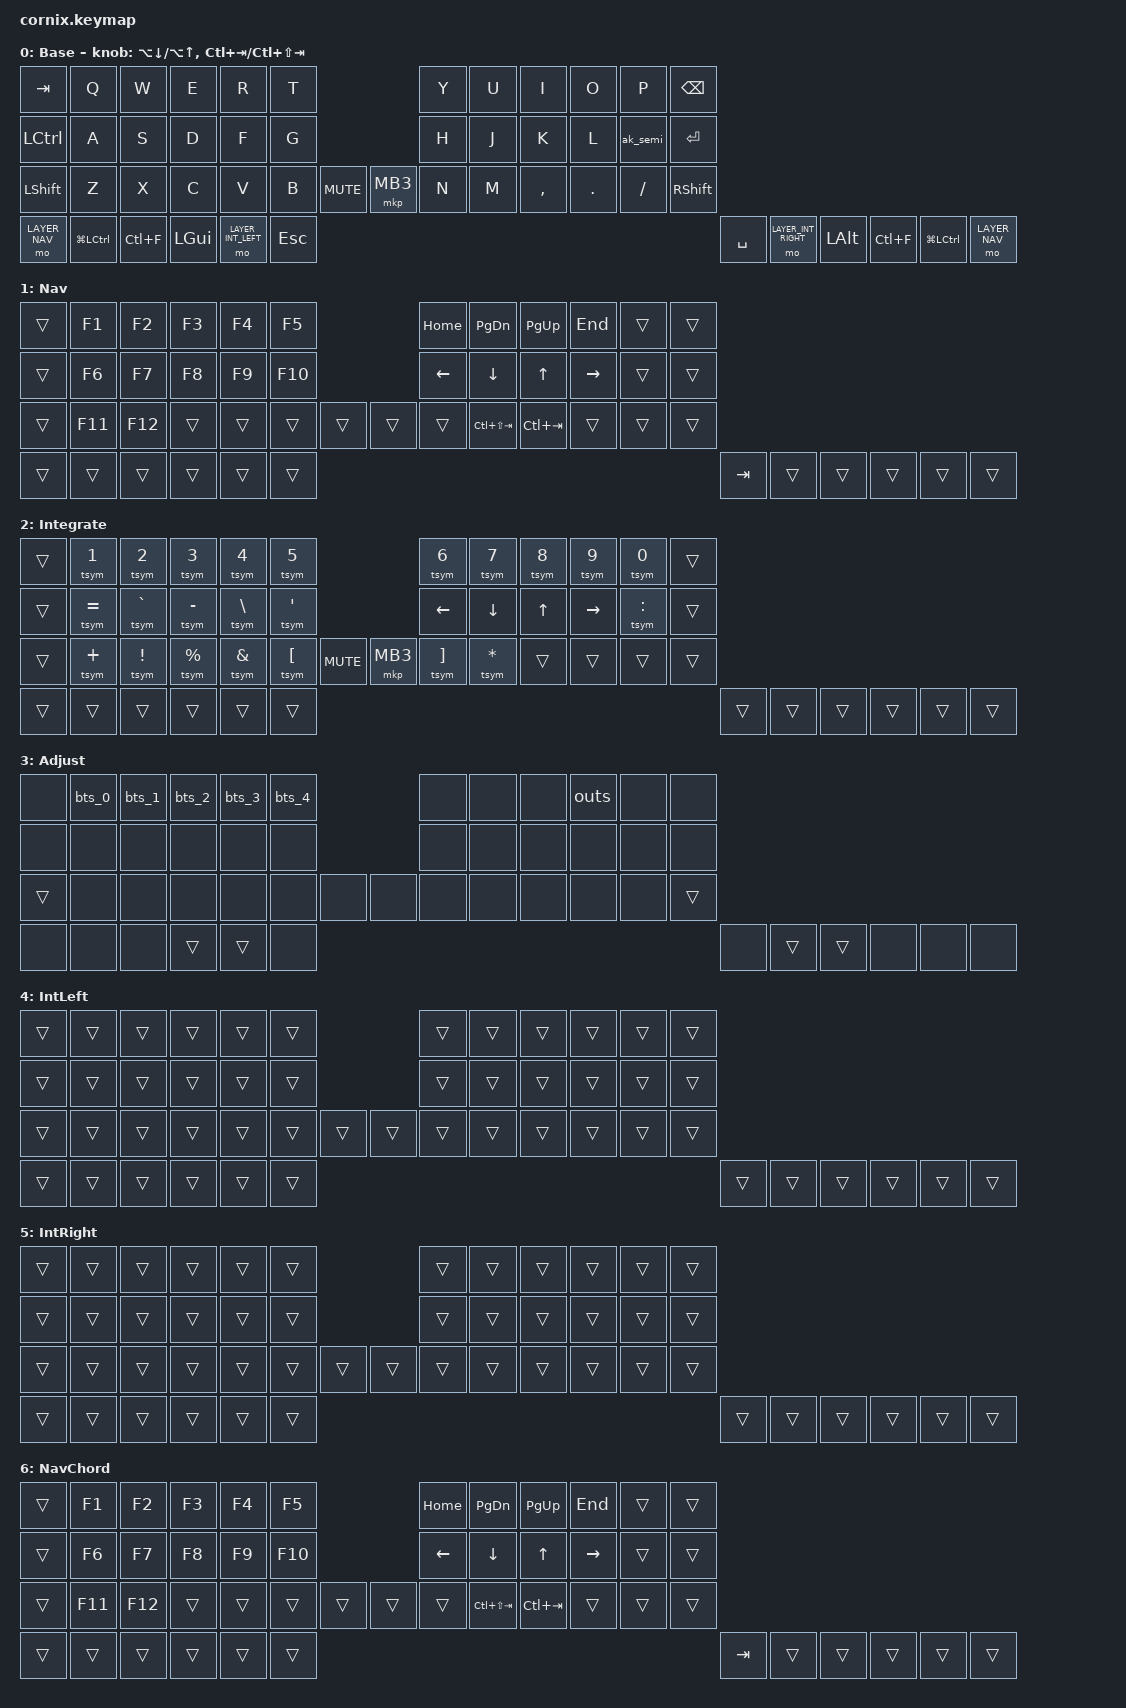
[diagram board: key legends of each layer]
/*
 * Copyright (c) 2020 The ZMK Contributors
 *
 * SPDX-License-Identifier: MIT
 */

#include <behaviors.dtsi>
#include <dt-bindings/zmk/bt.h>
#include <dt-bindings/zmk/keys.h>
#include <dt-bindings/zmk/outputs.h>
#include <dt-bindings/zmk/pointing.h>

#define LAYER_NAV 1
#define LAYER_INTEGRATE 2
#define LAYER_ADJUST 3
#define LAYER_INT_LEFT 4
#define LAYER_INT_RIGHT 5
#define LAYER_NAV_CHORD 6

/ {
    macros {
        tsym: tsym {
            compatible = "zmk,behavior-macro-one-param";
            #binding-cells = <1>;
            wait-ms = <0>;
            tap-ms = <5>;
            bindings = <&macro_param_1to1>, <&macro_tap &kp MACRO_PLACEHOLDER>;
        };
    };

    behaviors {
        ak_semi: ak_semi {
            compatible = "zmk,behavior-adaptive-key";
            #binding-cells = <0>;
            bindings = <&kp SEMI>;

            escape_colon {
                trigger-keys = <ESC>;
                max-prior-idle-ms = <300>;
                bindings = <&kp COLON>;
            };
        };

        // BT controls require BOTH shifts held (nested mod-morphs): the
        // outer morph checks left shift, the inner one checks right shift.
        bts_0: bts_0 {
            compatible = "zmk,behavior-mod-morph";
            #binding-cells = <0>;
            bindings = <&none>, <&bts_0_r>;
            mods = <(MOD_LSFT)>;
        };

        bts_0_r: bts_0_r {
            compatible = "zmk,behavior-mod-morph";
            #binding-cells = <0>;
            bindings = <&none>, <&bt BT_SEL 0>;
            mods = <(MOD_RSFT)>;
        };

        bts_1: bts_1 {
            compatible = "zmk,behavior-mod-morph";
            #binding-cells = <0>;
            bindings = <&none>, <&bts_1_r>;
            mods = <(MOD_LSFT)>;
        };

        bts_1_r: bts_1_r {
            compatible = "zmk,behavior-mod-morph";
            #binding-cells = <0>;
            bindings = <&none>, <&bt BT_SEL 1>;
            mods = <(MOD_RSFT)>;
        };

        bts_2: bts_2 {
            compatible = "zmk,behavior-mod-morph";
            #binding-cells = <0>;
            bindings = <&none>, <&bts_2_r>;
            mods = <(MOD_LSFT)>;
        };

        bts_2_r: bts_2_r {
            compatible = "zmk,behavior-mod-morph";
            #binding-cells = <0>;
            bindings = <&none>, <&bt BT_SEL 2>;
            mods = <(MOD_RSFT)>;
        };

        bts_3: bts_3 {
            compatible = "zmk,behavior-mod-morph";
            #binding-cells = <0>;
            bindings = <&none>, <&bts_3_r>;
            mods = <(MOD_LSFT)>;
        };

        bts_3_r: bts_3_r {
            compatible = "zmk,behavior-mod-morph";
            #binding-cells = <0>;
            bindings = <&none>, <&bt BT_SEL 3>;
            mods = <(MOD_RSFT)>;
        };

        bts_4: bts_4 {
            compatible = "zmk,behavior-mod-morph";
            #binding-cells = <0>;
            bindings = <&none>, <&bts_4_r>;
            mods = <(MOD_LSFT)>;
        };

        bts_4_r: bts_4_r {
            compatible = "zmk,behavior-mod-morph";
            #binding-cells = <0>;
            bindings = <&none>, <&bt BT_SEL 4>;
            mods = <(MOD_RSFT)>;
        };

        outs: outs {
            compatible = "zmk,behavior-mod-morph";
            #binding-cells = <0>;
            bindings = <&none>, <&outs_r>;
            mods = <(MOD_LSFT)>;
        };

        outs_r: outs_r {
            compatible = "zmk,behavior-mod-morph";
            #binding-cells = <0>;
            bindings = <&none>, <&out OUT_TOG>;
            mods = <(MOD_RSFT)>;
        };

        scroll_encoder: scroll_encoder {
            compatible = "zmk,behavior-sensor-rotate";
            #sensor-binding-cells = <0>;
            bindings = <&msc SCRL_UP>, <&msc SCRL_DOWN>;
        };

    };

    combos {
        compatible = "zmk,combos";

        // BT_CLR is destructive (wipes the active profile's bonding), so it is
        // deliberately awkward: Adjust layer + both outer corners at once.
        combo_bt_clr {
            timeout-ms = <200>;
            key-positions = <0 11>;
            layers = <LAYER_ADJUST>;
            bindings = <&bt BT_CLR>;
        };
    };

    conditional_layers {
        compatible = "zmk,conditional-layers";

        integrate_left {
            if-layers = <LAYER_INT_LEFT>;
            then-layer = <LAYER_INTEGRATE>;
        };

        integrate_right {
            if-layers = <LAYER_INT_RIGHT>;
            then-layer = <LAYER_INTEGRATE>;
        };

        nav_chord {
            if-layers = <LAYER_INT_LEFT LAYER_INT_RIGHT>;
            then-layer = <LAYER_NAV_CHORD>;
        };

        adjust {
            if-layers = <LAYER_NAV LAYER_INTEGRATE>;
            then-layer = <LAYER_ADJUST>;
        };
    };

    keymap {
        compatible = "zmk,keymap";

        default_layer {
            display-name = "Base";
            bindings = <
&kp TAB    &kp Q     &kp W     &kp E     &kp R   &kp T                            &kp Y      &kp U   &kp I      &kp O     &kp P      &kp BSPC
&kp LCTRL  &kp A     &kp S     &kp D     &kp F   &kp G                            &kp H      &kp J   &kp K      &kp L     &ak_semi   &kp ENTER
&kp LSHFT  &kp Z     &kp X     &kp C     &kp V   &kp B    &kp C_MUTE  &mkp MB3    &kp N      &kp M   &kp COMMA  &kp DOT   &kp FSLH   &kp RSHFT
&mo LAYER_NAV          &kp LG(LCTRL)  &kp LC(F)  &kp LGUI               &mo LAYER_INT_LEFT   &kp ESC                  &kp SPACE  &mo LAYER_INT_RIGHT  &kp LALT                 &kp LC(F)  &kp LG(LCTRL)  &mo LAYER_NAV
            >;
            sensor-bindings = <&inc_dec_kp LA(DOWN) LA(UP) &inc_dec_kp LC(TAB) LC(LS(TAB))>;
        };

        nav_num_layer {
            display-name = "Nav";
            bindings = <
&trans  &kp F1  &kp F2   &kp F3   &kp F4   &kp F5                        &kp HOME  &kp PG_DN        &kp PG_UP    &kp END    &trans  &trans
&trans  &kp F6  &kp F7   &kp F8   &kp F9   &kp F10                       &kp LEFT  &kp DOWN         &kp UP       &kp RIGHT  &trans  &trans
&trans  &kp F11  &kp F12  &trans  &trans   &trans   &trans     &trans    &trans    &kp LC(LS(TAB))  &kp LC(TAB)  &trans     &trans  &trans
&trans  &trans  &trans   &trans   &trans   &trans                        &kp TAB   &trans           &trans       &trans     &trans  &trans
            >;
        };

        num_sym_layer {
            display-name = "Integrate";
            bindings = <
&trans  &tsym N1     &tsym N2     &tsym N3    &tsym N4     &tsym N5                              &tsym N6    &tsym N7     &tsym N8    &tsym N9   &tsym N0     &trans
&trans  &tsym EQUAL  &tsym GRAVE  &tsym MINUS  &tsym BSLH  &tsym SQT                             &kp LEFT    &kp DOWN     &kp UP      &kp RIGHT  &tsym COLON  &trans
&trans  &tsym PLUS   &tsym EXCL   &tsym PRCNT  &tsym AMPS  &tsym LBKT  &kp C_MUTE  &mkp MB3      &tsym RBKT  &tsym ASTRK  &trans      &trans     &trans        &trans
&trans  &trans       &trans       &trans      &trans       &trans                                &trans      &trans       &trans      &trans     &trans       &trans
            >;
        };

        adjust_layer {
            display-name = "Adjust";
            bindings = <
&none   &bts_0  &bts_1  &bts_2  &bts_3  &bts_4                    &none  &none   &none  &outs  &none  &none
&none   &none   &none   &none   &none   &none                     &none  &none   &none  &none  &none  &none
&trans  &none   &none   &none   &none   &none   &none    &none    &none  &none   &none  &none  &none  &trans
&none   &none   &none   &trans  &trans  &none                     &none  &trans  &trans &none  &none  &none
            >;
        };

        int_left_layer {
            display-name = "IntLeft";
            bindings = <
&trans  &trans  &trans  &trans  &trans  &trans                    &trans  &trans  &trans  &trans  &trans  &trans
&trans  &trans  &trans  &trans  &trans  &trans                    &trans  &trans  &trans  &trans  &trans  &trans
&trans  &trans  &trans  &trans  &trans  &trans  &trans  &trans    &trans  &trans  &trans  &trans  &trans  &trans
&trans  &trans  &trans  &trans  &trans  &trans                    &trans  &trans  &trans  &trans  &trans  &trans
            >;
        };

        int_right_layer {
            display-name = "IntRight";
            bindings = <
&trans  &trans  &trans  &trans  &trans  &trans                    &trans  &trans  &trans  &trans  &trans  &trans
&trans  &trans  &trans  &trans  &trans  &trans                    &trans  &trans  &trans  &trans  &trans  &trans
&trans  &trans  &trans  &trans  &trans  &trans  &trans  &trans    &trans  &trans  &trans  &trans  &trans  &trans
&trans  &trans  &trans  &trans  &trans  &trans                    &trans  &trans  &trans  &trans  &trans  &trans
            >;
        };

        nav_chord_layer {
            display-name = "NavChord";
            bindings = <
&trans  &kp F1  &kp F2   &kp F3   &kp F4   &kp F5                        &kp HOME  &kp PG_DN        &kp PG_UP    &kp END    &trans  &trans
&trans  &kp F6  &kp F7   &kp F8   &kp F9   &kp F10                       &kp LEFT  &kp DOWN         &kp UP       &kp RIGHT  &trans  &trans
&trans  &kp F11  &kp F12  &trans  &trans   &trans   &trans     &trans    &trans    &kp LC(LS(TAB))  &kp LC(TAB)  &trans     &trans  &trans
&trans  &trans  &trans   &trans   &trans   &trans                        &kp TAB   &trans           &trans       &trans     &trans  &trans
            >;
        };
    };
};
